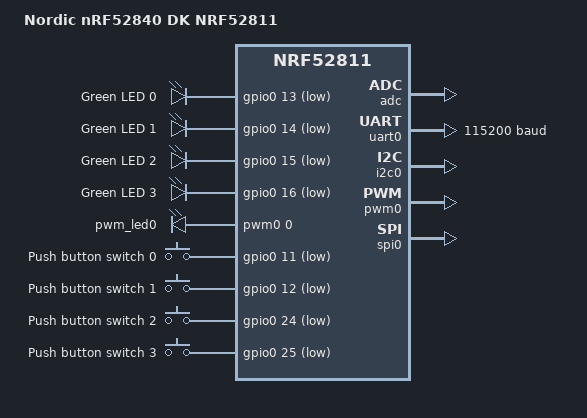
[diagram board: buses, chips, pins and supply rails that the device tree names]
/*
 * Copyright (c) 2019 Nordic Semiconductor
 *
 * SPDX-License-Identifier: Apache-2.0
 */

/dts-v1/;
#include <nordic/nrf52811_qfaa.dtsi>
#include "nrf52840dk_nrf52811-pinctrl.dtsi"
#include <zephyr/dt-bindings/input/input-event-codes.h>

/ {
	compatible = "nordic,nrf52840-dk-nrf52811";
	model = "Nordic nRF52840 DK NRF52811";

	chosen {
		zephyr,console = &uart0;
		zephyr,shell-uart = &uart0;
		zephyr,uart-mcumgr = &uart0;
		zephyr,bt-mon-uart = &uart0;
		zephyr,bt-c2h-uart = &uart0;
		zephyr,sram = &sram0;
		zephyr,flash = &flash0;
		zephyr,code-partition = &slot0_partition;
	};

	leds {
		compatible = "gpio-leds";

		led0: led_0 {
			gpios = <&gpio0 13 GPIO_ACTIVE_LOW>;
			label = "Green LED 0";
		};

		led1: led_1 {
			gpios = <&gpio0 14 GPIO_ACTIVE_LOW>;
			label = "Green LED 1";
		};

		led2: led_2 {
			gpios = <&gpio0 15 GPIO_ACTIVE_LOW>;
			label = "Green LED 2";
		};

		led3: led_3 {
			gpios = <&gpio0 16 GPIO_ACTIVE_LOW>;
			label = "Green LED 3";
		};
	};

	pwmleds {
		compatible = "pwm-leds";

		pwm_led0: pwm_led_0 {
			pwms = <&pwm0 0 PWM_MSEC(20) PWM_POLARITY_INVERTED>;
		};
	};

	buttons {
		compatible = "gpio-keys";

		button0: button_0 {
			gpios = <&gpio0 11 (GPIO_PULL_UP | GPIO_ACTIVE_LOW)>;
			label = "Push button switch 0";
			zephyr,code = <INPUT_KEY_0>;
		};

		button1: button_1 {
			gpios = <&gpio0 12 (GPIO_PULL_UP | GPIO_ACTIVE_LOW)>;
			label = "Push button switch 1";
			zephyr,code = <INPUT_KEY_1>;
		};

		button2: button_2 {
			gpios = <&gpio0 24 (GPIO_PULL_UP | GPIO_ACTIVE_LOW)>;
			label = "Push button switch 2";
			zephyr,code = <INPUT_KEY_2>;
		};

		button3: button_3 {
			gpios = <&gpio0 25 (GPIO_PULL_UP | GPIO_ACTIVE_LOW)>;
			label = "Push button switch 3";
			zephyr,code = <INPUT_KEY_3>;
		};
	};

	/* These aliases are provided for compatibility with samples */
	aliases {
		led0 = &led0;
		led1 = &led1;
		led2 = &led2;
		led3 = &led3;
		pwm-led0 = &pwm_led0;
		sw0 = &button0;
		sw1 = &button1;
		sw2 = &button2;
		sw3 = &button3;
		mcuboot-button0 = &button0;
		mcuboot-led0 = &led0;
		watchdog0 = &wdt0;
	};
};

&reg {
	regulator-initial-mode = <NRF5X_REG_MODE_DCDC>;
};

&adc {
	status = "okay";
};

&uicr {
	gpio-as-nreset;
};

&gpiote {
	status = "okay";
};

&gpio0 {
	status = "okay";
};

&uart0 {
	compatible = "nordic,nrf-uarte";
	current-speed = <115200>;
	pinctrl-0 = <&uart0_default>;
	pinctrl-1 = <&uart0_sleep>;
	pinctrl-names = "default", "sleep";
	status = "okay";
};

&i2c0 {
	compatible = "nordic,nrf-twi";
	/* Arduino compatible PINs */
	pinctrl-0 = <&i2c0_default>;
	pinctrl-1 = <&i2c0_sleep>;
	pinctrl-names = "default", "sleep";
	status = "okay";
};

&pwm0 {
	pinctrl-0 = <&pwm0_default>;
	pinctrl-1 = <&pwm0_sleep>;
	pinctrl-names = "default", "sleep";
	status = "okay";
};

&spi0 {
	compatible = "nordic,nrf-spi";
	pinctrl-0 = <&spi0_default>;
	pinctrl-1 = <&spi0_sleep>;
	pinctrl-names = "default", "sleep";
	status = "okay";
};

&spi1 {
	compatible = "nordic,nrf-spi";
	/* cannot be used with i2c0 */
	pinctrl-0 = <&spi1_default>;
	pinctrl-1 = <&spi1_sleep>;
	pinctrl-names = "default", "sleep";
};

&flash0 {
	partitions {
		compatible = "fixed-partitions";
		#address-cells = <1>;
		#size-cells = <1>;

		boot_partition: partition@0 {
			reg = <0x00000000 0xc000>;
			label = "mcuboot";
		};

		slot0_partition: partition@c000 {
			reg = <0x0000C000 0xe000>;
			label = "image-0";
		};

		slot1_partition: partition@1a000 {
			reg = <0x0001a000 0xe000>;
			label = "image-1";
		};

		storage_partition: partition@28000 {
			reg = <0x00028000 0x00008000>;
			label = "storage";
		};
	};
};
